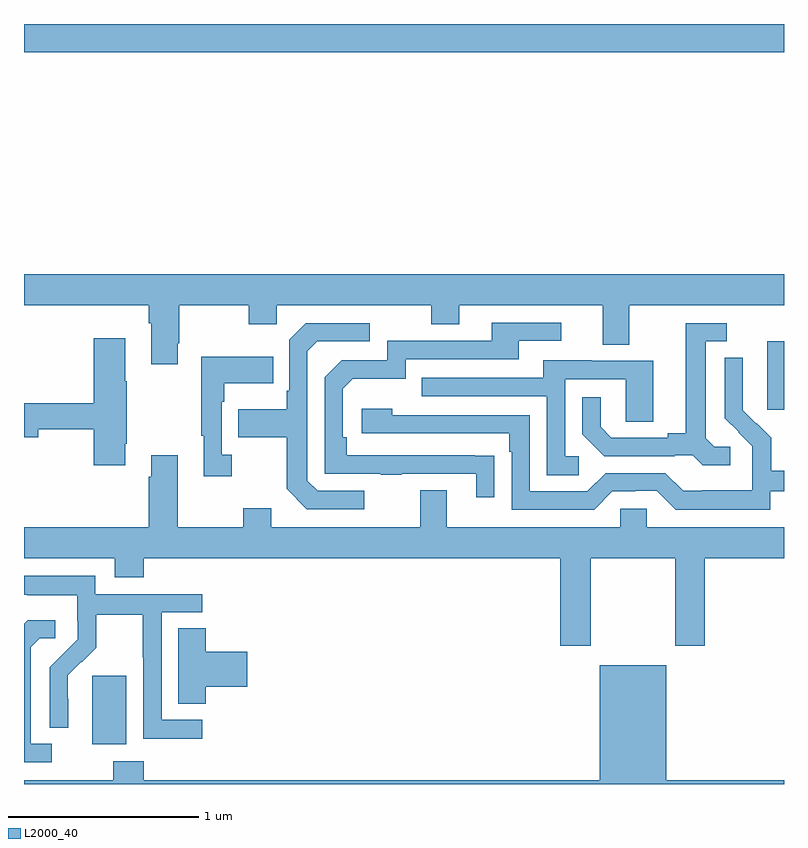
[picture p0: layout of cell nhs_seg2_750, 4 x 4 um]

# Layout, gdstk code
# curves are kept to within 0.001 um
import gdstk
lib = gdstk.Library(unit=1e-6, precision=1e-09)
def R(c, l, rs):  # rectangles x0, y0, x1, y1
    for r in rs: c.add(gdstk.rectangle(r[:2], r[2:], *l))
def P(c, l, *ps):  # polygons
    for p in ps: c.add(gdstk.Polygon(p, *l))
L2000_40 = (2000, 40)

nhs_seg2_750 = lib.new_cell('nhs_seg2_750')
R(nhs_seg2_750, L2000_40, [(149.36,628.01,149.539,628.371), (152.912,629.769,153,630.13), (149,631.652,153,631.8)])
P(nhs_seg2_750, L2000_40, [(149.809,630.121),(149.817,630.121),(149.817,630.32),(150.184,630.32),(150.184,630.221),(150.33,630.221),(150.33,630.32),(151.144,630.32),(151.144,630.221),(151.291,630.221),(151.291,630.32),(152.045,630.32),(152.045,630.112),(152.185,630.112),(152.185,630.32),(153,630.32),(153,630.484),(149,630.484),(149,630.32),(149.657,630.32),(149.657,630.224),(149.669,630.224),(149.669,630.009),(149.809,630.009)],
  [(151.475,629.528),(150.698,629.529),(150.698,629.626),(150.678,629.626),(150.678,629.88),(150.731,629.933),(151.008,629.933),(151.008,630.036),(151.603,630.036),(151.603,630.132),(151.828,630.132),(151.828,630.228),(151.463,630.228),(151.463,630.132),(150.912,630.132),(150.912,630.03),(150.672,630.03),(150.582,629.94),(150.582,629.433),(150.877,629.433),(150.877,629.428),(150.989,629.428),(150.989,629.433),(151.379,629.433),(151.379,629.31),(151.475,629.31)],
  [(150.79,629.343),(150.546,629.343),(150.492,629.397),(150.492,630.078),(150.543,630.129),(150.82,630.129),(150.82,630.225),(150.483,630.225),(150.396,630.138),(150.396,629.869),(150.384,629.869),(150.384,629.773),(150.127,629.773),(150.127,629.626),(150.384,629.626),(150.384,629.353),(150.489,629.247),(150.79,629.247)],
  [(152.716,629.574),(152.634,629.574),(152.587,629.621),(152.587,630.129),(152.698,630.129),(152.698,630.225),(152.483,630.225),(152.483,629.645),(152.387,629.645),(152.387,629.622),(152.092,629.622),(152.035,629.679),(152.035,629.836),(151.938,629.836),(151.938,629.642),(152.054,629.526),(152.426,629.526),(152.426,629.529),(152.52,629.529),(152.572,629.477),(152.716,629.477)],
  [(149.533,629.59),(149.541,629.59),(149.541,629.921),(149.533,629.921),(149.533,630.145),(149.366,630.145),(149.366,629.804),(149,629.804),(149,629.626),(149.074,629.626),(149.074,629.668),(149.366,629.668),(149.366,629.478),(149.533,629.478)],
  [(150.094,629.534),(150.042,629.534),(150.042,629.813),(150.055,629.813),(150.055,629.909),(150.311,629.909),(150.311,630.049),(149.934,630.049),(149.934,629.633),(149.945,629.633),(149.945,629.421),(150.094,629.421)],
  [(152.928,629.34),(153,629.34),(153,629.449),(152.933,629.449),(152.933,629.623),(152.856,629.7),(152.853,629.697),(152.783,629.768),(152.784,630.044),(152.688,630.044),(152.688,629.726),(152.834,629.578),(152.834,629.481),(152.832,629.481),(152.832,629.347),(152.569,629.347),(152.569,629.343),(152.469,629.343),(152.376,629.436),(152.061,629.436),(151.965,629.34),(151.662,629.34),(151.662,629.742),(150.938,629.742),(150.938,629.776),(150.777,629.776),(150.777,629.646),(151.553,629.646),(151.553,629.549),(151.566,629.549),(151.566,629.244),(152.001,629.244),(152.097,629.34),(152.216,629.34),(152.216,629.343),(152.331,629.343),(152.431,629.243),(152.928,629.243)],
  [(151.921,629.526),(151.848,629.526),(151.848,629.931),(152.166,629.931),(152.166,629.707),(152.311,629.707),(152.311,630.027),(151.987,630.027),(151.987,630.031),(151.733,630.031),(151.733,629.937),(151.093,629.937),(151.093,629.841),(151.752,629.841),(151.752,629.425),(151.921,629.425)],
  [(151.983,628.988),(152.428,628.988),(152.428,628.527),(152.583,628.527),(152.583,628.988),(153,628.988),(153,629.152),(152.277,629.152),(152.277,629.25),(152.139,629.25),(152.139,629.152),(151.225,629.152),(151.225,629.347),(151.085,629.347),(151.085,629.152),(150.301,629.152),(150.301,629.251),(150.154,629.251),(150.154,629.152),(149.809,629.152),(149.809,629.53),(149.669,629.53),(149.669,629.417),(149.657,629.417),(149.657,629.152),(149,629.152),(149,628.988),(149.477,628.988),(149.477,628.889),(149.63,628.889),(149.63,628.988),(151.823,628.988),(151.823,628.527),(151.983,628.527)],
  [(149.938,628.137),(149.724,628.137),(149.724,628.704),(149.938,628.704),(149.938,628.8),(149.376,628.8),(149.376,628.897),(149,628.897),(149,628.797),(149.017,628.797),(149.017,628.793),(149.28,628.793),(149.28,628.659),(149.282,628.659),(149.282,628.562),(149.136,628.414),(149.136,628.096),(149.232,628.096),(149.231,628.373),(149.301,628.443),(149.304,628.44),(149.381,628.517),(149.381,628.692),(149.626,628.692),(149.626,628.468),(149.628,628.468),(149.628,628.039),(149.938,628.039)],
  [(149.146,628.011),(149.035,628.011),(149.035,628.519),(149.082,628.566),(149.164,628.566),(149.164,628.663),(149.02,628.663),(149,628.643),(149,627.915),(149.146,627.915)],
  [(149.957,628.313),(150.175,628.313),(150.175,628.496),(149.957,628.496),(149.957,628.619),(149.813,628.619),(149.813,628.222),(149.957,628.222)],
  [(153,627.82),(152.38,627.82),(152.38,628.426),(152.03,628.426),(152.03,627.82),(149.63,627.82),(149.63,627.919),(149.47,627.919),(149.47,627.82),(149,627.82),(149,627.8),(153,627.8)])

lib.write_gds('nhs_seg2_750.gds')
